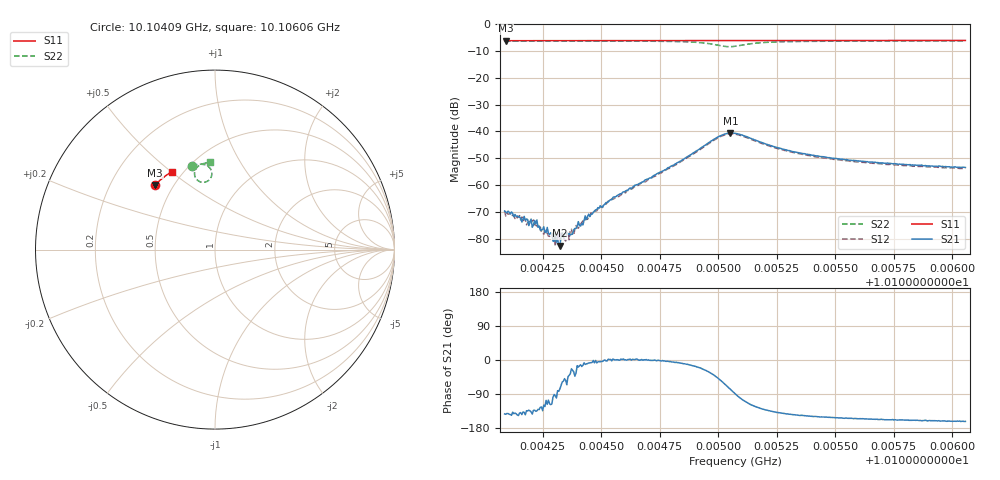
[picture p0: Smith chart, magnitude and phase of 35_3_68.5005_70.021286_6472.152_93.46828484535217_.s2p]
#  HZ  S  RI  R  50.00
! Rohde & Schwarz Vector Network Analyzer
! Rohde-Schwarz,ZNB20-2Port,1311601062101988,3.16
! Created: UTC 3/20/2024, 4:50:06 PM
! freq[Hz]  re:S11  im:S11  re:S21  im:S21  re:S12  im:S12  re:S22  im:S22
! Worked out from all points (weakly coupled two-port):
!   401 points, 10.10409 GHz to 10.10606 GHz, reference 50 ohm
!   highest |S21| = -40.56 dB at 10.10505 GHz (marker M1); lowest = -82.5 dB at 10.10432 GHz (marker M2)
!   lowest |S11| = -6.2 dB at 10.10409 GHz (marker M3), VSWR 2.93, Z = 19.8 + j18.9 ohm
!   |S11| at or under -10 dB: nowhere
!   |S22| runs from -8.4 to -6.2 dB; largest |S21 - S12| = 0.00092
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1.0104088e10  -0.3348 0.3601  -0.000259 -0.000201  -0.000239 -0.000236  -0.1286 0.4666
1.0104093e10  -0.3344 0.3602  -0.000251 -0.000187  -0.000191 -0.000184  -0.1282 0.4667
1.0104176e10  -0.3308 0.3638  -0.00018 -0.000128  -0.000132 -0.000183  -0.1221 0.4684
1.0104206e10  -0.3296 0.3652  -0.000131 -9.94e-05  -0.000119 -0.000176  -0.1199 0.469
1.0104226e10  -0.3287 0.366  -0.000157 -0.000161  -0.000113 -0.000132  -0.1184 0.4695
1.0104255e10  -0.3275 0.3672  -8.14e-05 -0.000146  -6.67e-05 -0.000101  -0.1162 0.4701
1.0104304e10  -0.3252 0.3693  -9.91e-06 -0.000129  5.37e-06 -7.28e-05  -0.1125 0.471
1.0104324e10  -0.3243 0.3701  1.8e-05 -7.28e-05  5.09e-05 -8.22e-05  -0.1108 0.4714
1.0104354e10  -0.3232 0.3714  5.16e-05 -0.000113  8.75e-05 -9.39e-05  -0.1084 0.4719
1.0104368e10  -0.3225 0.372  9.55e-05 -7.04e-05  0.000131 -6.12e-05  -0.1072 0.4722
1.0104393e10  -0.3214 0.373  0.000128 -8.81e-05  0.000166 -5.99e-05  -0.1053 0.4726
1.0104417e10  -0.3203 0.374  0.000186 -5.74e-05  0.000199 -3.16e-05  -0.103 0.473
1.0104437e10  -0.3193 0.3749  0.000225 -3.98e-05  0.000228 -5.19e-05  -0.1014 0.4735
1.0104545e10  -0.3144 0.3794  0.000533 -2.03e-05  0.000554 3.43e-05  -0.091 0.4748
1.0104747e10  -0.3051 0.3874  0.0017 -3.32e-05  0.00163 0.000105  -0.0657 0.4748
1.0104993e10  -0.2935 0.3966  0.00544 -0.00538  0.00565 -0.00468  -0.0195 0.4093
1.0105052e10  -0.2907 0.3985  0.00201 -0.00915  0.00266 -0.00859  -0.0629 0.3748
1.0105072e10  -0.2899 0.3992  0.000162 -0.00924  0.000968 -0.00887  -0.0827 0.3776
1.0105254e10  -0.2816 0.4064  -0.00374 -0.00331  -0.0033 -0.00349  -0.1026 0.4555
1.0105401e10  -0.2743 0.4119  -0.00308 -0.00185  -0.00279 -0.00208  -0.0826 0.4717
1.0105731e10  -0.258 0.4234  -0.00235 -0.000953  -0.00217 -0.00111  -0.0515 0.4826
1.0106056e10  -0.2414 0.4338  -0.00203 -0.000659  -0.00189 -0.00082  -0.0267 0.4867
